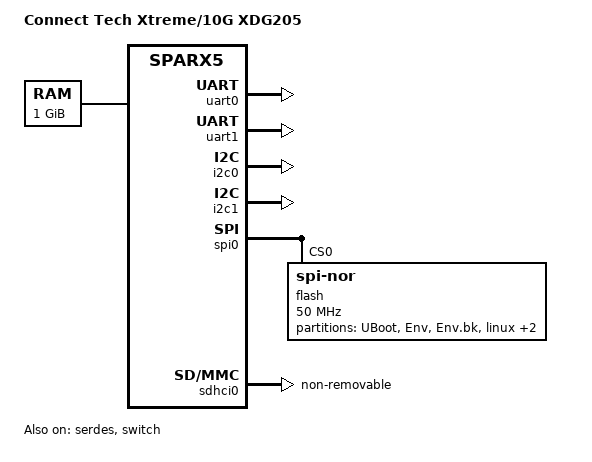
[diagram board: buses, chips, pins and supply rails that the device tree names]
// SPDX-License-Identifier: (GPL-2.0-or-later OR MIT)

/dts-v1/;

#include <dt-bindings/gpio/gpio.h>
#include "sparx5.dtsi"

/ {
	model = "Connect Tech Xtreme/10G XDG205";
	compatible = "connecttech,xdg205", "microchip,sparx5";

	aliases {
		serial0 = &uart0;
	};

	chosen {
		stdout-path = "serial0:115200n8";
	};

	/* Placeholder; SparX-5 DDR base is 0x0 (see PCB125). Vendor
	 * bootloader fixup expected to override the size. */
	memory@0 {
		device_type = "memory";
		reg = <0x0 0x0 0x0 0x40000000>;
	};

	/*
	 * XDG205 10G ports 0-6 are direct KR backplane lanes (no SFP cages,
	 * no i2c dependency). Mainline sparx5 driver has no 10GBase-KR mode,
	 * so the ports run as 10GBase-R with fixed-link.
	 *
	 * ASSUMPTION (no schematic, no console access):
	 * label port N = switch port 56+N = serdes 25+N (VSC7558 HS lanes).
	 * On PCB135 serdes = switch port - 31. Verify on hardware and adjust.
	 */
};

&uart0 {
	status = "okay";
};

&uart1 {
	status = "okay";
};

&i2c0 {
	status = "okay";
};

&i2c1 {
	status = "okay";
};

&spi0 {
	status = "okay";

	flash@0 {
		compatible = "jedec,spi-nor";
		reg = <0>;
		spi-max-frequency = <50000000>;
		#address-cells = <1>;
		#size-cells = <1>;

		/* Layout mirrors U-Boot MTDPARTS_DEFAULT (BSP nor_parts):
		 * 1m(UBoot),256k(Env),256k(Env.bk),46m(linux),46m(linux.bk),32m(rootfs_data)
		 */
		partitions {
			compatible = "fixed-partitions";
			#address-cells = <1>;
			#size-cells = <1>;

			partition@0 {
				label = "UBoot";
				reg = <0x0 0x100000>;
				read-only;
			};

			partition@100000 {
				label = "Env";
				reg = <0x100000 0x40000>;
				read-only;
			};

			partition@140000 {
				label = "Env.bk";
				reg = <0x140000 0x40000>;
				read-only;
			};

			partition@180000 {
				label = "linux";
				reg = <0x180000 0x2e00000>;
			};

			partition@2f80000 {
				label = "linux.bk";
				reg = <0x2f80000 0x2e00000>;
			};

			partition@5d80000 {
				label = "rootfs_data";
				reg = <0x5d80000 0x2000000>;
			};
		};
	};
};

&sdhci0 {
	status = "okay";
	non-removable;
};

&serdes {
	status = "okay";
};

&switch {
	status = "okay";

	ethernet-ports {
		#address-cells = <1>;
		#size-cells = <0>;

		port56: port@56 {
			reg = <56>;
			microchip,bandwidth = <10000>;
			phys = <&serdes 25>;
			phy-mode = "10gbase-r";
			openwrt,netdev-name = "lan1";
			fixed-link {
				speed = <10000>;
				full-duplex;
				pause;
			};
		};

		port57: port@57 {
			reg = <57>;
			microchip,bandwidth = <10000>;
			phys = <&serdes 26>;
			phy-mode = "10gbase-r";
			openwrt,netdev-name = "lan2";
			fixed-link {
				speed = <10000>;
				full-duplex;
				pause;
			};
		};

		port58: port@58 {
			reg = <58>;
			microchip,bandwidth = <10000>;
			phys = <&serdes 27>;
			phy-mode = "10gbase-r";
			openwrt,netdev-name = "lan3";
			fixed-link {
				speed = <10000>;
				full-duplex;
				pause;
			};
		};

		port59: port@59 {
			reg = <59>;
			microchip,bandwidth = <10000>;
			phys = <&serdes 28>;
			phy-mode = "10gbase-r";
			openwrt,netdev-name = "lan4";
			fixed-link {
				speed = <10000>;
				full-duplex;
				pause;
			};
		};

		port60: port@60 {
			reg = <60>;
			microchip,bandwidth = <10000>;
			phys = <&serdes 29>;
			phy-mode = "10gbase-r";
			openwrt,netdev-name = "lan5";
			fixed-link {
				speed = <10000>;
				full-duplex;
				pause;
			};
		};

		port61: port@61 {
			reg = <61>;
			microchip,bandwidth = <10000>;
			phys = <&serdes 30>;
			phy-mode = "10gbase-r";
			openwrt,netdev-name = "lan6";
			fixed-link {
				speed = <10000>;
				full-duplex;
				pause;
			};
		};

		port62: port@62 {
			reg = <62>;
			microchip,bandwidth = <10000>;
			phys = <&serdes 31>;
			phy-mode = "10gbase-r";
			openwrt,netdev-name = "lan7";
			fixed-link {
				speed = <10000>;
				full-duplex;
				pause;
			};
		};

		/* Management port, serdes 0 SGMII as on PCB134/PCB135. */
		port64: port@64 {
			reg = <64>;
			microchip,bandwidth = <1000>;
			phys = <&serdes 0>;
			phy-mode = "sgmii";
			managed = "in-band-status";
			openwrt,netdev-name = "wan";
		};
	};
};
